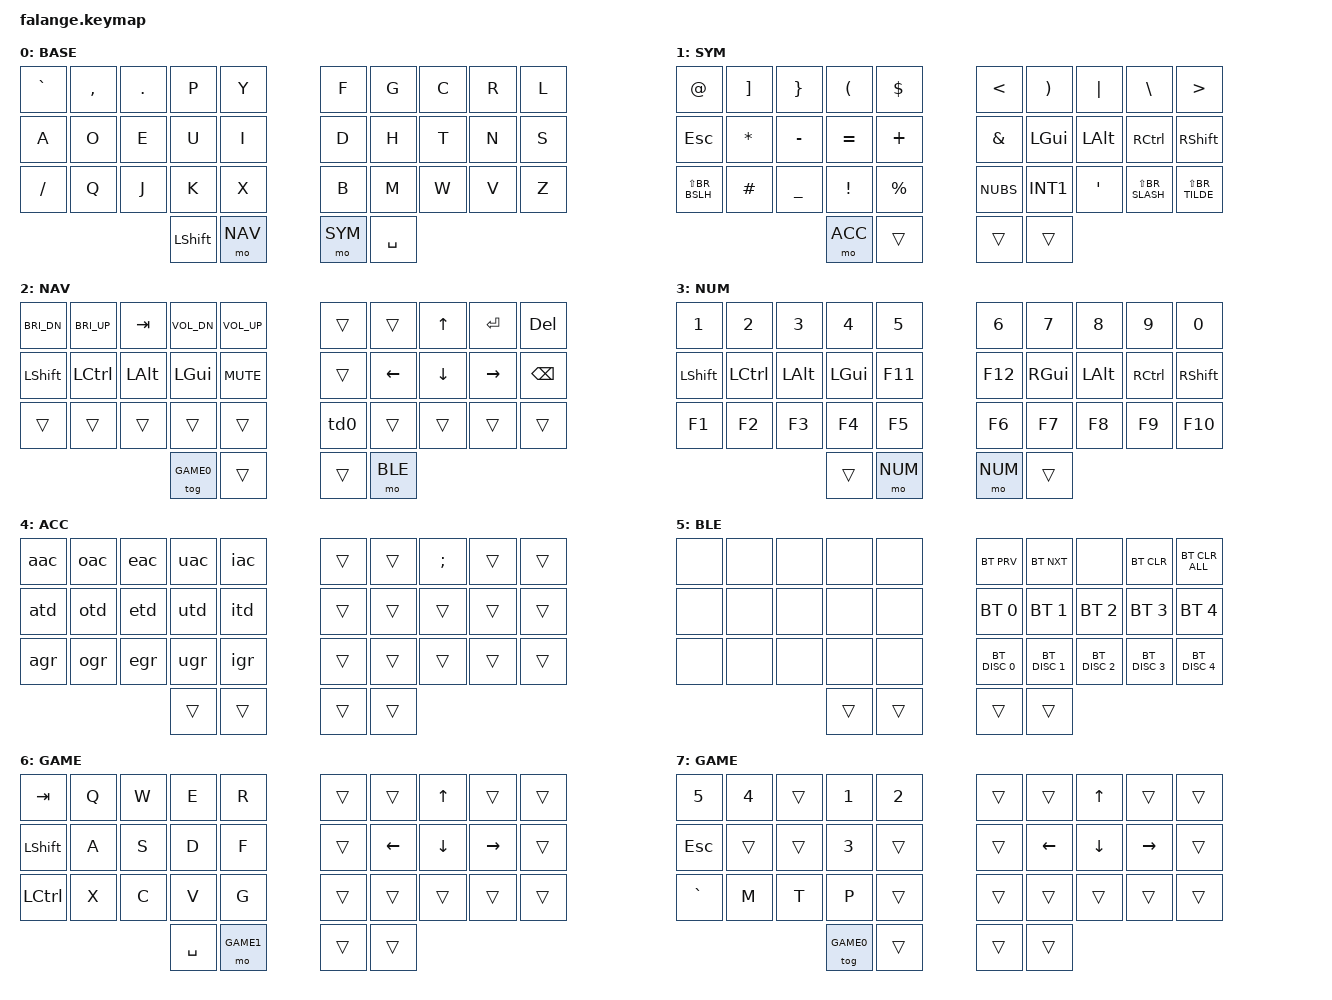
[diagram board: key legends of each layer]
#include <behaviors.dtsi>
#include <dt-bindings/zmk/keys.h>
#include <dt-bindings/zmk/bt.h>
#include <dt-bindings/zmk/ext_power.h>

#define DEFAULT 0
#define SYM 1
#define NAV 2
#define NUM 3
#define ACC 4
#define BLE 5
#define GAME0 6
#define GAME1 7

#define BR_SQT GRAVE
#define BR_SEMI SLASH
#define BR_LBKT RBKT
#define BR_LBRC RBRC
#define BR_RBKT BSLH
#define BR_RBRC PIPE
#define BR_SLASH INT1
#define BR_TILDE SQT
#define BR_CARET LS(BR_TILDE)
#define BR_BSLH NUBS
#define BR_QMARK LS(BR_SLASH)
#define BR_PIPE LS(BR_BSLH)
#define BR_CCED SEMI
#define BR_ACUT LBKT
#define BR_GRAVE LS(BR_ACUT)

/ {
    macros {
        ZMK_MACRO(aac, bindings = <&kp BR_ACUT &kp A>;)
        ZMK_MACRO(oac, bindings = <&kp BR_ACUT &kp O>;)
        ZMK_MACRO(eac, bindings = <&kp BR_ACUT &kp E>;)
        ZMK_MACRO(uac, bindings = <&kp BR_ACUT &kp U>;)
        ZMK_MACRO(iac, bindings = <&kp BR_ACUT &kp I>;)

        ZMK_MACRO(atd, bindings = <&kp BR_TILDE &kp A>;)
        ZMK_MACRO(otd, bindings = <&kp BR_TILDE &kp O>;)
        ZMK_MACRO(etd, bindings = <&kp BR_TILDE &kp E>;)
        ZMK_MACRO(utd, bindings = <&kp BR_TILDE &kp U>;)
        ZMK_MACRO(itd, bindings = <&kp BR_TILDE &kp I>;)

        ZMK_MACRO(agr, bindings = <&kp BR_GRAVE &kp A>;)
        ZMK_MACRO(ogr, bindings = <&kp BR_GRAVE &kp O>;)
        ZMK_MACRO(egr, bindings = <&kp BR_GRAVE &kp E>;)
        ZMK_MACRO(ugr, bindings = <&kp BR_GRAVE &kp U>;)
        ZMK_MACRO(igr, bindings = <&kp BR_GRAVE &kp I>;)
    };

    conditional_layers {
        compatible = "zmk,conditional-layers";
        tri_layer {
            if-layers = <SYM NAV>;
            then-layer = <NUM>;
        };
    };

    behaviors {
        td0: tap_dance_0 {
            compatible = "zmk,behavior-tap-dance";
            #binding-cells = <0>;
            tapping-term-ms = <200>;
            bindings = <&none>, <&tog GAME0>;
        };
    };

    keymap {
        compatible = "zmk,keymap";

        default_layer {
            display-name = "BASE";
            bindings = <
    &kp BR_SQT &kp COMMA &kp DOT  &kp P     &kp Y                         &kp F     &kp G     &kp C     &kp R     &kp L
    &kp A     &kp O     &kp E     &kp U     &kp I                         &kp D     &kp H     &kp T     &kp N     &kp S
    &kp BR_SEMI &kp Q   &kp J     &kp K     &kp X                         &kp B     &kp M     &kp W     &kp V     &kp Z
                                            &kp LSHFT &mo NAV   &mo SYM   &kp SPACE
            >;
        };

        sym_layer {
            display-name = "SYM";
            bindings = <
    &kp AT    &kp BR_LBKT &kp BR_LBRC &kp LPAR &kp DLLR                   &kp LT    &kp RPAR  &kp BR_RBRC &kp BR_RBKT &kp GT
    &kp ESC   &kp STAR  &kp MINUS &kp EQUAL &kp PLUS                      &kp AMPS  &kp LGUI  &kp LALT  &kp RCTRL &kp RSHFT
    &kp BR_PIPE &kp HASH &kp UNDER &kp EXCL &kp PRCNT                     &kp BR_BSLH &kp BR_SLASH &kp BR_TILDE &kp BR_QMARK &kp BR_CARET
                                            &mo ACC   &trans    &trans    &trans
            >;
        };

        nav_layer {
            display-name = "NAV";
            bindings = <
    &kp C_BRI_DN &kp C_BRI_UP &kp TAB &kp C_VOL_DN &kp C_VOL_UP           &trans    &trans    &kp UP    &kp RET   &kp DEL
    &kp LSHFT &kp LCTRL &kp LALT  &kp LGUI  &kp C_MUTE                    &trans    &kp LEFT  &kp DOWN  &kp RIGHT &kp BSPC
    &trans    &trans    &trans    &trans    &trans                        &td0      &trans    &trans    &trans    &trans
                                            &tog GAME0 &trans   &trans    &mo BLE
            >;
        };

        num_layer {
            display-name = "NUM";
            bindings = <
    &kp N1    &kp N2    &kp N3    &kp N4    &kp N5                        &kp N6    &kp N7    &kp N8    &kp N9    &kp N0
    &kp LSHFT &kp LCTRL &kp LALT  &kp LGUI  &kp F11                       &kp F12   &kp RGUI  &kp LALT  &kp RCTRL &kp RSHFT
    &kp F1    &kp F2    &kp F3    &kp F4    &kp F5                        &kp F6    &kp F7    &kp F8    &kp F9    &kp F10
                                            &trans    &mo NUM   &mo NUM   &trans
            >;
        };

        acc_layer {
            display-name = "ACC";
            bindings = <
    &aac      &oac      &eac      &uac      &iac                          &trans    &trans    &kp BR_CCED &trans  &trans
    &atd      &otd      &etd      &utd      &itd                          &trans    &trans    &trans    &trans    &trans
    &agr      &ogr      &egr      &ugr      &igr                          &trans    &trans    &trans    &trans    &trans
                                            &trans    &trans    &trans    &trans
            >;
        };

        ble_layer {
            display-name = "BLE";
            bindings = <
    &none     &none     &none     &none     &none                         &bt BT_PRV &bt BT_NXT &none   &bt BT_CLR &bt BT_CLR_ALL
    &none     &none     &none     &none     &none                         &bt BT_SEL 0 &bt BT_SEL 1 &bt BT_SEL 2 &bt BT_SEL 3 &bt BT_SEL 4
    &none     &none     &none     &none     &none                         &bt BT_DISC 0 &bt BT_DISC 1 &bt BT_DISC 2 &bt BT_DISC 3 &bt BT_DISC 4
                                            &trans    &trans    &trans    &trans
            >;
        };

        game0_layer {
            display-name = "GAME";
            bindings = <
    &kp TAB   &kp Q     &kp W     &kp E     &kp R                         &trans    &trans    &kp UP    &trans    &trans
    &kp LSHFT &kp A     &kp S     &kp D     &kp F                         &trans    &kp LEFT  &kp DOWN  &kp RIGHT &trans
    &kp LCTRL &kp X     &kp C     &kp V     &kp G                         &trans    &trans    &trans    &trans    &trans
                                            &kp SPACE &mo GAME1 &trans    &trans
            >;
        };

        game1_layer {
            display-name = "GAME";
            bindings = <
    &kp N5    &kp N4    &trans    &kp N1    &kp N2                        &trans    &trans    &kp UP    &trans    &trans
    &kp ESC   &trans    &trans    &kp N3    &trans                        &trans    &kp LEFT  &kp DOWN  &kp RIGHT &trans
    &kp BR_SQT &kp M    &kp T     &kp P     &trans                        &trans    &trans    &trans    &trans    &trans
                                            &tog GAME0 &trans   &trans    &trans
            >;
        };
    };
};
